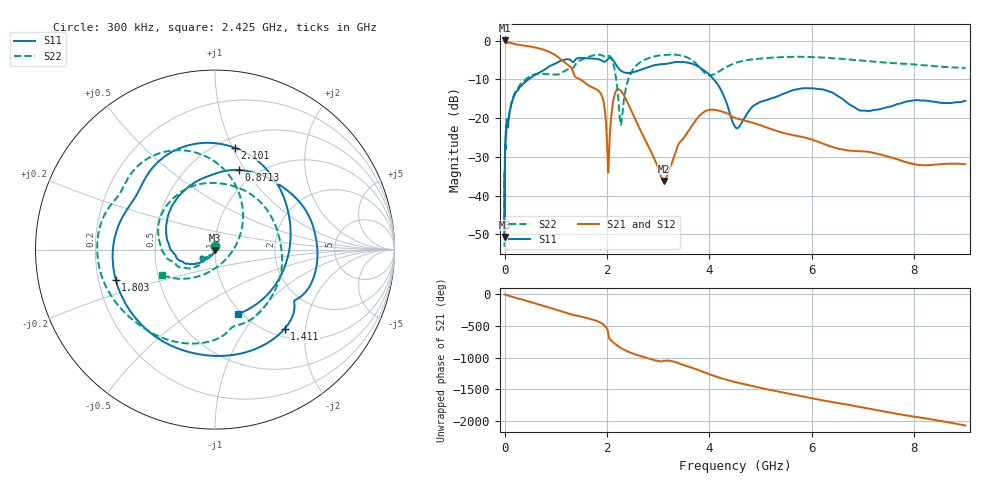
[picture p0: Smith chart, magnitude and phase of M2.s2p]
# Hz S DB R 50
! CMT, C1420, 19038819, 22.4.2/3
! Date: 2023-03-14 09:48:09
! Data: Format (Calibration Info)
! Freq	S11:dB/Ang(F2)	S21:dB/Ang(F2)	S12:dB/Ang(F2)	S22:dB/Ang(F2)
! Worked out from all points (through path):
!   9001 points, 300 kHz to 9 GHz, reference 50 ohm
!   highest |S21| = 0.02 dB at 300 kHz (marker M1); lowest = -36.2 dB at 3.114 GHz (marker M2)
!   lowest |S11| = -50.7 dB at 1.3 MHz (marker M3), VSWR 1.01, Z = 49.9 - j0.276 ohm
!   |S11| at or under -10 dB: start of sweep to 465.2 MHz; 4.084 GHz to end of sweep
!   |S22| runs from -53.1 to -3.6 dB; largest |S21 - S12| = 0.0035
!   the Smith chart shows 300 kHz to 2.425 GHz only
!   S11 on the Smith chart (normalised r, x): 300 kHz: 1.00, +0.04; 871.3 MHz: 0.83, +0.94; 1.411 GHz: 1.15, -1.55; 1.803 GHz: 0.27, -0.14; 2.101 GHz: 0.60, +1.02; 2.425 GHz: 0.97, -0.81
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300000  -34.50 93.9  0.02 -1.4  0.01 -1.4  -33.53 91.1
1299967  -50.69 -108.9  -0.03 -1.1  -0.03 -1.1  -53.05 -118.3
1.392954e8  -16.29 -148.8  -0.68 -34.5  -0.68 -34.5  -15.86 -141.4
4.012866e8  -10.71 159.0  -1.35 -94.4  -1.35 -94.5  -10.16 172.5
6.522783e8  -8.45 113.5  -1.98 -153.6  -1.97 -153.6  -8.56 121.1
8.71271e8  -6.68 73.3  -2.95 153.0  -2.95 152.9  -8.68 63.8
1.091264e9  -5.26 26.3  -4.80 98.1  -4.78 97.9  -8.51 -6.0
1.411253e9  -4.62 -48.7  -9.61 26.6  -9.59 26.5  -5.76 -94.2
1.50025e9  -4.48 -74.3  -10.21 9.9  -10.19 9.8  -4.96 -116.4
1.80324e9  -4.76 -163.2  -12.68 -59.0  -12.66 -59.2  -3.67 -177.3
1.925236e9  -5.37 155.6  -15.34 -113.4  -15.33 -113.6  -3.98 157.2
2.021233e9  -4.69 122.7  -33.84 115.1  -33.88 114.1  -3.99 137.1
2.10123e9  -4.75 79.1  -17.40 -21.2  -17.36 -21.5  -5.00 103.6
2.270224e9  -7.75 -4.0  -12.96 -125.0  -12.93 -125.2  -21.81 -43.2
2.425219e9  -8.39 -70.0  -16.64 172.3  -16.60 172.2  -9.70 -154.2
3.0002e9  -6.19 148.5  -32.97 28.6  -32.81 28.9  -3.90 129.2
3.114196e9  -6.06 130.4  -36.21 30.9  -35.99 30.5  -3.72 118.7
3.781174e9  -6.70 35.5  -19.78 -111.6  -19.76 -112.0  -6.51 62.1
4.50015e9  -22.26 -5.4  -19.98 57.4  -19.97 57.3  -5.79 65.1
6.0001e9  -12.32 -30.9  -25.54 161.0  -25.52 161.2  -4.28 -6.3
7.50005e9  -17.14 -81.2  -30.00 -60.9  -29.96 -60.7  -5.73 -66.5
9e9  -15.56 -152.7  -31.90 91.6  -31.82 91.4  -7.08 -121.9
